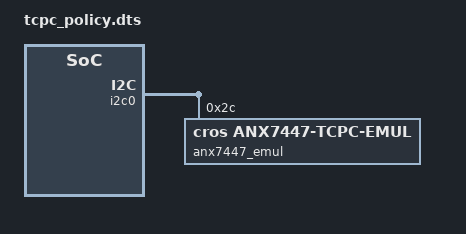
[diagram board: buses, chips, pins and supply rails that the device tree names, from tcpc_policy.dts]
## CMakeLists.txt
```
# Copyright 2022 The ChromiumOS Authors
# Use of this source code is governed by a BSD-style license that can be
# found in the LICENSE file.

# Add source files
target_sources(app PRIVATE src/low_power_mode.c src/main.c)
```

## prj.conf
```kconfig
# Copyright 2022 The ChromiumOS Authors
# Use of this source code is governed by a BSD-style license that can be
# found in the LICENSE file.

CONFIG_PLATFORM_EC_USB_PD_TCPC_LOW_POWER=y
CONFIG_PLATFORM_EC_USB_PD_FRS_TCPC=y
CONFIG_PLATFORM_EC_USB_PD_TCPM_ANX7447_OCM_ERASE_COMMAND=y
CONFIG_PLATFORM_EC_USB_PD_TCPM_ANX7447_AUX_PU_PD=y
CONFIG_PLATFORM_EC_CONSOLE_CMD_TCPC_DUMP=y
```

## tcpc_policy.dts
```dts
/* Copyright 2022 The ChromiumOS Authors
 * Use of this source code is governed by a BSD-style license that can be
 * found in the LICENSE file.
 */

#include <dt-bindings/usb_pd_tcpm.h>

/ {
	usbc {
		port0@0 {
			compatible = "named-usbc-port";
			tcpc = <&anx7447_emul>;
			usb-mux-chain-0 {
				compatible = "cros-ec,usb-mux-chain";
				usb-muxes = <&anx7447_mux_c0 &virtual_mux_c0>;
			};
		};
		port0-muxes {
			anx7447_mux_c0: anx7447-mux-0 {
				compatible = "analogix,usbc-mux-anx7447";
			};
		};
	};
};

&i2c0 {
	status="okay";

	anx7447_emul: anx7447_emul@2c {
		compatible = "cros,anx7447-tcpc-emul";
		reg = <0x2c>;
		tcpc-flags = <(
			TCPC_FLAGS_VBUS_MONITOR |
			TCPC_FLAGS_ALERT_OD |
			TCPC_FLAGS_CONTROL_VCONN |
			TCPC_FLAGS_CONTROL_FRS)>;
	};
};
```

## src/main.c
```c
/* Copyright 2023 The ChromiumOS Authors
 * Use of this source code is governed by a BSD-style license that can be
 * found in the LICENSE file.
 */

#include "console.h"
#include "driver/tcpm/anx7447.h"
#include "emul/tcpc/emul_anx7447.h"
#include "emul/tcpc/emul_tcpci.h"
#include "tcpm/anx7447_public.h"
#include "tcpm/tcpci.h"
#include "test/drivers/stubs.h"
#include "test/drivers/test_state.h"
#include "test/drivers/utils.h"
#include "usb_pd.h"

#include <zephyr/drivers/emul.h>
#include <zephyr/fff.h>
#include <zephyr/shell/shell.h>
#include <zephyr/ztest.h>

FAKE_VOID_FUNC(pd_got_frs_signal, int);
FAKE_VOID_FUNC(tcpc_dump_std_registers, int);

#define FFF_FAKES_LIST(FAKE)    \
	FAKE(pd_got_frs_signal) \
	FAKE(tcpc_dump_std_registers)

#define ANX7447_NODE DT_NODELABEL(anx7447_emul)
#define PORT 0
static const struct emul *emul = EMUL_DT_GET(ANX7447_NODE);
const struct usb_mux *m;

struct anx7447_fixture {
	struct i2c_common_emul_data *common;
};

static void anx7447_reset(void *fixture)
{
	struct anx7447_fixture *f = fixture;

	FFF_FAKES_LIST(RESET_FAKE);
	FFF_RESET_HISTORY();

	tcpc_config[PORT].drv->init(PORT);

	anx7447_emul_reset(emul);
	i2c_common_emul_set_read_fail_reg(f->common,
					  I2C_COMMON_EMUL_NO_FAIL_REG);
	i2c_common_emul_set_write_fail_reg(f->common,
					   I2C_COMMON_EMUL_NO_FAIL_REG);
	shell_execute_cmd(get_ec_shell(), "chan restore");
}

static void *anx7447_setup(void)
{
	static struct anx7447_fixture fix;

	m = usb_muxes[PORT].mux;

	fix.common = anx7447_emul_get_i2c_common_data(emul);

	return &fix;
}

ZTEST_SUITE(anx7447, drivers_predicate_post_main, anx7447_setup, anx7447_reset,
	    anx7447_reset, NULL);

ZTEST(anx7447, test_mux_init)
{
	mux_state_t ms;

	zassert_ok(tcpc_config[PORT].drv->init(PORT));
	zassert_ok(m->driver->init(m));
	zassert_equal(m->driver->get(m, &ms), EC_SUCCESS);
	zassert_equal(ms, USB_PD_MUX_NONE);
}

ZTEST(anx7447, test_mux)
{
	mux_state_t ms;
	bool ack;
	const uint32_t combs[] = { USB_PD_MUX_DP_ENABLED,
				   USB_PD_MUX_USB_ENABLED, USB_PD_MUX_DOCK };
	const uint32_t dirs[] = { 0, USB_PD_MUX_POLARITY_INVERTED };

	zassert_ok(tcpc_config[PORT].drv->init(PORT));
	zassert_ok(m->driver->init(m));

	/*set safe mode  */
	ms = USB_PD_MUX_SAFE_MODE;
	zassert_equal(m->driver->set(m, ms, &ack), EC_SUCCESS);
	zassert_equal(m->driver->get(m, &ms), EC_SUCCESS);
	zassert_equal(ms, USB_PD_MUX_NONE);

	/* test all other combinations */
	for (int i = 0; i < ARRAY_SIZE(dirs); i++) {
		for (int j = 0; j < ARRAY_SIZE(combs); j++) {
			ms = dirs[i] | combs[j];
			zassert_equal(m->driver->set(m, ms, &ack), EC_SUCCESS);
			ms = USB_PD_MUX_NONE;
			zassert_equal(m->driver->get(m, &ms), EC_SUCCESS);
			zassert_equal(ms, dirs[i] | combs[j]);
		}
	}
}

ZTEST(anx7447, test_tcpc_alert_frs)
{
	uint16_t reg;

	tcpci_emul_set_reg(emul, TCPC_REG_ALERT, TCPC_REG_ALERT_VENDOR_DEF);
	tcpci_emul_get_reg(emul, TCPC_REG_ALERT, &reg);
	zassert_equal(reg, TCPC_REG_ALERT_VENDOR_DEF);

	anx7447_emul_set_tcpci_extra_reg(emul, ANX7447_REG_VD_ALERT,
					 ANX7447_FRSWAP_SIGNAL_DETECTED);

	zassert_equal(pd_got_frs_signal_fake.call_count, 0);
	tcpc_config[PORT].drv->tcpc_alert(PORT);
	zassert_equal(pd_got_frs_signal_fake.call_count, 1);
}

ZTEST(anx7447, test_tcpc_drp_toggle)
{
	uint16_t reg;

	anx7447_emul_set_tcpci_extra_reg(emul, ANX7447_REG_ANALOG_CTRL_10,
					 ANX7447_REG_CABLE_DET_DIG);

	tcpc_config[PORT].drv->drp_toggle(PORT);

	anx7447_emul_set_tcpci_extra_reg(emul, ANX7447_REG_VD_ALERT,
					 ANX7447_FRSWAP_SIGNAL_DETECTED);

	reg = anx7447_emul_peek_tcpci_extra_reg(emul,
						ANX7447_REG_ANALOG_CTRL_10);

	zassert_equal(reg & ANX7447_REG_CABLE_DET_DIG, 0);
}

ZTEST(anx7447, test_set_frs_enable)
{
	uint16_t reg;

	reg = anx7447_emul_peek_spi_reg(emul, ANX7447_REG_ADDR_GPIO_CTRL_1);
	zassert_equal(!!(reg & ANX7447_ADDR_GPIO_CTRL_1_FRS_EN_DATA), 0);
	tcpc_config[PORT].drv->set_frs_enable(PORT, 1);
	anx7447_emul_set_tcpci_extra_reg(emul, ANX7447_REG_VD_ALERT,
					 ANX7447_FRSWAP_SIGNAL_DETECTED);
	reg = anx7447_emul_peek_spi_reg(emul, ANX7447_REG_ADDR_GPIO_CTRL_1);
	zassert_equal(!!(reg & ANX7447_ADDR_GPIO_CTRL_1_FRS_EN_DATA), 1);

	tcpc_config[PORT].drv->set_frs_enable(PORT, 0);
	reg = anx7447_emul_peek_spi_reg(emul, ANX7447_REG_ADDR_GPIO_CTRL_1);
	zassert_equal(!!(reg & ANX7447_ADDR_GPIO_CTRL_1_FRS_EN_DATA), 1);

	/* deferred disable */
	k_sleep(K_SECONDS(1));
	reg = anx7447_emul_peek_spi_reg(emul, ANX7447_REG_ADDR_GPIO_CTRL_1);
	zassert_equal(reg & ANX7447_ADDR_GPIO_CTRL_1_FRS_EN_DATA, 0);
}

ZTEST(anx7447, test_tcpc_update_hpd_status)
{
	uint16_t reg;
	mux_state_t ms;
	bool ack = true;

	m->driver->init(m);

	ms = USB_PD_MUX_HPD_IRQ | USB_PD_MUX_HPD_LVL;
	anx7447_tcpc_update_hpd_status(m, ms, &ack);

	zassert_false(ack);

	reg = anx7447_emul_peek_spi_reg(emul, ANX7447_REG_HPD_CTRL_0);
	zassert_equal(!!(reg & ANX7447_REG_HPD_PLUG), 1);
	zassert_equal(!!(reg & ANX7447_REG_HPD_IRQ0), 1);

	/* toggle hpd immediately */
	anx7447_emul_set_spi_reg(emul, ANX7447_REG_HPD_CTRL_0, 0);
	anx7447_tcpc_update_hpd_status(m, ms, &ack);
	reg = anx7447_emul_peek_spi_reg(emul, ANX7447_REG_HPD_CTRL_0);
	zassert_equal(!!(reg & ANX7447_REG_HPD_PLUG), 1);
	zassert_equal(!!(reg & ANX7447_REG_HPD_IRQ0), 1);

	ms = USB_PD_MUX_HPD_IRQ_DEASSERTED | USB_PD_MUX_HPD_LVL_DEASSERTED;
	anx7447_tcpc_update_hpd_status(m, ms, &ack);
	reg = anx7447_emul_peek_spi_reg(emul, ANX7447_REG_HPD_CTRL_0);
	zassert_equal(!!(reg & ANX7447_REG_HPD_PLUG), 0);
}

ZTEST(anx7447, test_get_chip_info)
{
	struct ec_response_pd_chip_info_v1 chip_info;

	anx7447_emul_set_spi_reg(emul, ANX7447_REG_OCM_MAIN_VERSION, 0x01);
	anx7447_emul_set_spi_reg(emul, ANX7447_REG_OCM_BUILD_VERSION, 0x15);

	tcpc_config[PORT].drv->get_chip_info(PORT, 1, &chip_info);

	zassert_equal(chip_info.fw_version_number, 0x0115);
	zassert_equal(chip_info.min_req_fw_version_number, 0x0115);
}

ZTEST(anx7447, test_dump_registers)
{
	tcpc_config[PORT].drv->dump_registers(PORT);
	zassert_equal(tcpc_dump_std_registers_fake.call_count, 1);
}
ZTEST(anx7447, test_release)
{
	zassert_ok(tcpc_config[PORT].drv->release(PORT));
}

ZTEST(anx7447, test_command_flash_erase)
{
	int rv;
	int reg;

	rv = shell_execute_cmd(get_ec_shell(), "chan 0");

	/* flash empty */
	anx7447_emul_set_spi_reg(emul, ANX7447_REG_OCM_MAIN_VERSION, 0x0);
	CHECK_CONSOLE_CMD("anx_ocm 0 erase", "C0: OCM flash is empty.",
			  EC_SUCCESS);

	anx7447_emul_set_spi_reg(emul, ANX7447_REG_OCM_MAIN_VERSION, 0x1);
	/* set erasing flash instant done */
	anx7447_emul_set_spi_reg(emul, ANX7447_REG_R_RAM_CTRL,
				 ANX7447_R_RAM_CTRL_FLASH_DONE);
	CHECK_CONSOLE_CMD("anx_ocm 0 erase", "C0: OCM flash is not empty.",
			  EC_SUCCESS);

	reg = anx7447_emul_peek_spi_reg(emul, ANX7447_REG_FLASH_INST_TYPE);
	zassert_equal(!!(reg & ANX7447_FLASH_INST_TYPE_WRITEENABLE), 1);
	reg = anx7447_emul_peek_spi_reg(emul, ANX7447_REG_R_FLASH_RW_CTRL);
	zassert_equal(!!(reg & ANX7447_R_FLASH_RW_CTRL_GENERAL_INST_EN), 1);
	reg = anx7447_emul_peek_spi_reg(emul, ANX7447_REG_FLASH_ERASE_TYPE);
	zassert_equal(!!(reg & ANX7447_FLASH_ERASE_TYPE_CHIPERASE), 1);
	reg = anx7447_emul_peek_spi_reg(emul, ANX7447_REG_R_FLASH_RW_CTRL);
	zassert_equal(!!(reg & ANX7447_R_FLASH_RW_CTRL_FLASH_ERASE_EN), 1);

	CHECK_CONSOLE_CMD("anx_ocm 0 erase", "C0: OCM flash is not empty.",
			  EC_SUCCESS);
}

ZTEST(anx7447, test_flash_erase)
{
	int reg;

	anx7447_emul_set_spi_reg(emul, ANX7447_REG_OCM_MAIN_VERSION, 0x1);
	/* set erasing flash instant done */
	anx7447_emul_set_spi_reg(emul, ANX7447_REG_R_RAM_CTRL,
				 ANX7447_R_RAM_CTRL_FLASH_DONE);

	zassert_equal(anx7447_flash_erase(PORT), EC_SUCCESS);

	reg = anx7447_emul_peek_spi_reg(emul, ANX7447_REG_FLASH_INST_TYPE);
	zassert_equal(!!(reg & ANX7447_FLASH_INST_TYPE_WRITEENABLE), 1);
	reg = anx7447_emul_peek_spi_reg(emul, ANX7447_REG_R_FLASH_RW_CTRL);
	zassert_equal(!!(reg & ANX7447_R_FLASH_RW_CTRL_GENERAL_INST_EN), 1);
	reg = anx7447_emul_peek_spi_reg(emul, ANX7447_REG_FLASH_ERASE_TYPE);
	zassert_equal(!!(reg & ANX7447_FLASH_ERASE_TYPE_CHIPERASE), 1);
	reg = anx7447_emul_peek_spi_reg(emul, ANX7447_REG_R_FLASH_RW_CTRL);
	zassert_equal(!!(reg & ANX7447_R_FLASH_RW_CTRL_FLASH_ERASE_EN), 1);
}

#define TEST_PORT 0
#define INVALID_PORT -1
extern bool anx7447_bist_test_mode[CONFIG_USB_PD_PORT_MAX_COUNT];
enum ec_error_list anx7447_get_bist_test_mode(const int port, bool *enable);
enum ec_error_list anx7447_set_bist_test_mode(const int port,
					      const bool enable);

ZTEST(anx7447, test_set_bist_mode_enable)
{
	int ret = anx7447_set_bist_test_mode(TEST_PORT, true);
	zassert_equal(ret, EC_SUCCESS, "Failed to enable BIST mode");
	zassert_true(anx7447_bist_test_mode[TEST_PORT],
		     "BIST mode should be enabled for port 0");
	int reg = anx7447_emul_peek_tcpci_extra_reg(emul,
						    ANX7447_REG_TCPC_CTRL_1);
	zassert_true(reg & CC_DEBOUNCE_MS);

	reg = anx7447_emul_peek_tcpci_extra_reg(emul,
						ANX7447_REG_CC_DEBOUNCE_TIME);
	zassert_true(reg == 2);

	ret = anx7447_set_bist_test_mode(TEST_PORT, false);
	zassert_equal(ret, EC_SUCCESS, "Failed to disable BIST mode");
	zassert_false(anx7447_bist_test_mode[TEST_PORT],
		      "BIST mode should be disable for port 0");
	reg = anx7447_emul_peek_tcpci_extra_reg(emul, ANX7447_REG_TCPC_CTRL_1);
	zassert_false(reg & CC_DEBOUNCE_MS);

	reg = anx7447_emul_peek_tcpci_extra_reg(emul,
						ANX7447_REG_CC_DEBOUNCE_TIME);
	zassert_true(reg == 10);
}

ZTEST(anx7447, test_get_bist_mode_valid)
{
	bool enable;

	anx7447_set_bist_test_mode(TEST_PORT, true);
	anx7447_get_bist_test_mode(TEST_PORT, &enable);
	zassert_true(enable, "BIST mode should be enabled");
	zassert_true(anx7447_bist_test_mode[TEST_PORT],
		     "BIST mode should be enabled for port 0");

	anx7447_set_bist_test_mode(TEST_PORT, false);
	anx7447_get_bist_test_mode(TEST_PORT, &enable);
	zassert_false(enable, "BIST mode should be disabled");
	zassert_false(anx7447_bist_test_mode[TEST_PORT],
		      "BIST mode should be disable for port 0");
}

ZTEST(anx7447, test_invalid_port)
{
	bool enable;

	int ret = anx7447_set_bist_test_mode(INVALID_PORT, true);
	zassert_equal(ret, EC_ERROR_INVAL,
		      "Expected EC_ERROR_INVAL for invalid port");

	ret = anx7447_get_bist_test_mode(INVALID_PORT, &enable);
	zassert_equal(ret, EC_SUCCESS,
		      "Expected EC_ERROR_INVAL for invalid port");
}
```

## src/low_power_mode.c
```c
/* Copyright 2022 The ChromiumOS Authors
 * Use of this source code is governed by a BSD-style license that can be
 * found in the LICENSE file.
 */

#include "emul/tcpc/emul_tcpci.h"
#include "tcpm/anx7447_public.h"
#include "tcpm/tcpci.h"
#include "test/drivers/stubs.h"
#include "test/drivers/test_state.h"
#include "usb_pd.h"

#include <zephyr/drivers/emul.h>
#include <zephyr/ztest.h>

#define ANX7447_NODE DT_NODELABEL(anx7447_emul)

static const int tcpm_anx7447_port = USBC_PORT_C0;

ZTEST_SUITE(low_power_mode, drivers_predicate_post_main, NULL, NULL, NULL,
	    NULL);

ZTEST(low_power_mode, test_enter_low_power_in_source_mode)
{
	uint16_t reg_val = 0;
	const struct emul *anx7447_emul = EMUL_DT_GET(ANX7447_NODE);

	pd_set_dual_role(tcpm_anx7447_port, PD_DRP_FORCE_SOURCE);
	tcpci_emul_set_reg(anx7447_emul, TCPC_REG_ROLE_CTRL, 0);

	zassert_ok(anx7447_tcpm_drv.enter_low_power_mode(tcpm_anx7447_port),
		   "Cannot enter low power mode");
	zassert_ok(tcpci_emul_get_reg(anx7447_emul, TCPC_REG_ROLE_CTRL,
				      &reg_val),
		   "Cannot get TCPC Role Register value");
	zassert_equal(
		reg_val,
		TCPC_REG_ROLE_CTRL_SET(TYPEC_NO_DRP, TYPEC_RP_USB, TYPEC_CC_RP,
				       TYPEC_CC_RP),
		"Role register value is not as expected while entering low power mode");
}

ZTEST(low_power_mode, test_enter_low_power_not_in_source_mode)
{
	uint16_t reg_val = 0;
	const struct emul *anx7447_emul = EMUL_DT_GET(ANX7447_NODE);

	pd_set_dual_role(tcpm_anx7447_port, PD_DRP_FORCE_SINK);
	tcpci_emul_set_reg(anx7447_emul, TCPC_REG_ROLE_CTRL, 0);

	zassert_ok(anx7447_tcpm_drv.enter_low_power_mode(tcpm_anx7447_port),
		   "Cannot enter low power mode");
	zassert_ok(tcpci_emul_get_reg(anx7447_emul, TCPC_REG_ROLE_CTRL,
				      &reg_val),
		   "Cannot get TCPC Role Register value");
	zassert_equal(reg_val, 0, "Role register value is changed");
}
```
